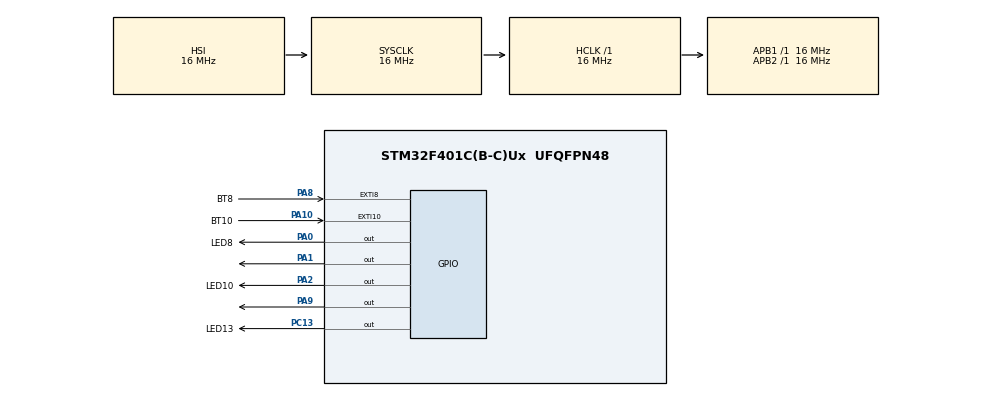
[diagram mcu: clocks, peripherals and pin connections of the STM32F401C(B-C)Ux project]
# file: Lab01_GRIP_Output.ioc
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Mcu.Family=STM32F4
Mcu.Name=STM32F401C(B-C)Ux
Mcu.Package=UFQFPN48
NVIC.EXTI15_10_IRQn=true\:5\:0\:true\:true\:true\:2\:true\:true\:true
NVIC.EXTI9_5_IRQn=true\:10\:0\:true\:true\:true\:1\:true\:true\:true
NVIC.PriorityGroup=NVIC_PRIORITYGROUP_4
PA0-WKUP.GPIO_Label=LED8
PA0-WKUP.Signal=GPIO_Output
PA1.Signal=GPIO_Output
PA10.GPIO_Label=BT10
PA10.Signal=GPXTI10
PA13.Mode=Serial_Wire
PA13.Signal=SYS_JTMS-SWDIO
PA14.Mode=Serial_Wire
PA14.Signal=SYS_JTCK-SWCLK
PA2.GPIO_Label=LED10
PA2.Signal=GPIO_Output
PA8.GPIO_Label=BT8
PA8.Signal=GPXTI8
PA9.Signal=GPIO_Output
PC13-ANTI_TAMP.GPIO_Label=LED13
PC13-ANTI_TAMP.Signal=GPIO_Output
ProjectManager.HeapSize=0x200
ProjectManager.StackSize=0x400
ProjectManager.TargetToolchain=STM32CubeIDE
RCC.AHBFreq_Value=16000000
RCC.APB1Freq_Value=16000000
RCC.APB2Freq_Value=16000000
RCC.CortexFreq_Value=16000000
RCC.HSE_VALUE=25000000
RCC.HSI_VALUE=16000000
RCC.LSE_VALUE=32768
RCC.SYSCLKFreq_VALUE=16000000
RCC.VCOOutputFreq_Value=192000000
board=custom

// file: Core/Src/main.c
/* USER CODE BEGIN Header */
/**
  ******************************************************************************
  * @file           : main.c
  * @brief          : Main program body
  ******************************************************************************
  * @attention
  *
  * Copyright (c) 2023 STMicroelectronics.
  * All rights reserved.
  *
  * This software is licensed under terms that can be found in the LICENSE file
  * in the root directory of this software component.
  * If no LICENSE file comes with this software, it is provided AS-IS.
  *
  ******************************************************************************
  */
/* USER CODE END Header */
#include "main.h"

void SystemClock_Config(void);
static void MX_GPIO_Init(void);
static void MX_NVIC_Init(void);
/* USER CODE BEGIN PFP */
void WaitForСallback(void);
/* USER CODE END PFP */

int main(void)
{

  /* MCU Configuration--------------------------------------------------------*/

  /* Reset of all peripherals, Initializes the Flash interface and the Systick. */
  HAL_Init();

  /* Configure the system clock */
  SystemClock_Config();

  /* Initialize all configured peripherals */
  MX_GPIO_Init();

  /* Initialize interrupts */
  MX_NVIC_Init();

  /* Infinite loop */
  /* USER CODE BEGIN WHILE */

  unsigned long player1_time = 0;
  unsigned long player2_time = 0;

  int position=0;

  while (1)
  {
    /* USER CODE END WHILE */
	  HAL_GPIO_TogglePin(LED13_GPIO_Port, LED13_Pin);
	  HAL_Delay(200);

	  if(HAL_GPIO_ReadPin(BT10_GPIO_Port, BT10_Pin) == GPIO_PIN_SET){
	 	position++;
	 	player1_time = position;
	 		HAL_GPIO_WritePin(LED10_GPIO_Port, LED10_Pin, GPIO_PIN_SET);
	 	 HAL_Delay(300);
	 	HAL_GPIO_WritePin(LED10_GPIO_Port, LED10_Pin, GPIO_PIN_RESET);
	 	} else{
	 		HAL_GPIO_WritePin(LED10_GPIO_Port, LED10_Pin, GPIO_PIN_RESET);
	 	}
	 	HAL_Delay(10);

	 	if(HAL_GPIO_ReadPin(BT8_GPIO_Port, BT8_Pin) == GPIO_PIN_SET){
	 	 position++;
	 	 player2_time=position;
	 	  	HAL_GPIO_WritePin(LED8_GPIO_Port, LED8_Pin, GPIO_PIN_SET);
	 	  		HAL_Delay(300);
	 	 HAL_GPIO_WritePin(LED8_GPIO_Port, LED8_Pin, GPIO_PIN_RESET);
	 	  		 } else{
	 	  		 HAL_GPIO_WritePin(LED8_GPIO_Port, LED8_Pin, GPIO_PIN_RESET);
	 	  		 }

	 	  HAL_Delay(10);

	 	 if(player1_time !=0 && player2_time != 0){
	 	 if (player1_time < player2_time){
	 	  HAL_GPIO_WritePin(LED10_GPIO_Port, LED10_Pin, GPIO_PIN_SET);
	 	  HAL_Delay(5000);
	 	  HAL_GPIO_WritePin(LED10_GPIO_Port, LED10_Pin, GPIO_PIN_RESET);
	 	 } else{
	 	  HAL_GPIO_WritePin(LED8_GPIO_Port, LED8_Pin, GPIO_PIN_SET);
	 	  HAL_Delay(5000);
	 	  HAL_GPIO_WritePin(LED8_GPIO_Port, LED8_Pin, GPIO_PIN_RESET);
	 	 }
	 	  player1_time=0;
	 	  player2_time=0;
	 	  position=0;
	 	 }
 /* USER COD*/
  }
  /* USER CODE END 3 */
}

void SystemClock_Config(void)
{
  RCC_OscInitTypeDef RCC_OscInitStruct = {0};
  RCC_ClkInitTypeDef RCC_ClkInitStruct = {0};

  /** Configure the main internal regulator output voltage
  */
  __HAL_RCC_PWR_CLK_ENABLE();
  __HAL_PWR_VOLTAGESCALING_CONFIG(PWR_REGULATOR_VOLTAGE_SCALE2);

  /** Initializes the RCC Oscillators according to the specified parameters
  * in the RCC_OscInitTypeDef structure.
  */
  RCC_OscInitStruct.OscillatorType = RCC_OSCILLATORTYPE_HSI;
  RCC_OscInitStruct.HSIState = RCC_HSI_ON;
  RCC_OscInitStruct.HSICalibrationValue = RCC_HSICALIBRATION_DEFAULT;
  RCC_OscInitStruct.PLL.PLLState = RCC_PLL_NONE;
  if (HAL_RCC_OscConfig(&RCC_OscInitStruct) != HAL_OK)
  {
    Error_Handler();
  }

  /** Initializes the CPU, AHB and APB buses clocks
  */
  RCC_ClkInitStruct.ClockType = RCC_CLOCKTYPE_HCLK|RCC_CLOCKTYPE_SYSCLK
                              |RCC_CLOCKTYPE_PCLK1|RCC_CLOCKTYPE_PCLK2;
  RCC_ClkInitStruct.SYSCLKSource = RCC_SYSCLKSOURCE_HSI;
  RCC_ClkInitStruct.AHBCLKDivider = RCC_SYSCLK_DIV1;
  RCC_ClkInitStruct.APB1CLKDivider = RCC_HCLK_DIV1;
  RCC_ClkInitStruct.APB2CLKDivider = RCC_HCLK_DIV1;

  if (HAL_RCC_ClockConfig(&RCC_ClkInitStruct, FLASH_LATENCY_0) != HAL_OK)
  {
    Error_Handler();
  }
}

/**
  * @brief NVIC Configuration.
  * @retval None
  */
static void MX_NVIC_Init(void)
{
  /* EXTI9_5_IRQn interrupt configuration */
  HAL_NVIC_SetPriority(EXTI9_5_IRQn, 10, 0);
  HAL_NVIC_EnableIRQ(EXTI9_5_IRQn);
  /* EXTI15_10_IRQn interrupt configuration */
  HAL_NVIC_SetPriority(EXTI15_10_IRQn, 5, 0);
  HAL_NVIC_EnableIRQ(EXTI15_10_IRQn);
}

static void MX_GPIO_Init(void)
{
  GPIO_InitTypeDef GPIO_InitStruct = {0};

  /* GPIO Ports Clock Enable */
  __HAL_RCC_GPIOC_CLK_ENABLE();
  __HAL_RCC_GPIOA_CLK_ENABLE();

  /*Configure GPIO pin Output Level */
  HAL_GPIO_WritePin(LED13_GPIO_Port, LED13_Pin, GPIO_PIN_RESET);

  /*Configure GPIO pin Output Level */
  HAL_GPIO_WritePin(GPIOA, LED8_Pin|GPIO_PIN_1|LED10_Pin|GPIO_PIN_9, GPIO_PIN_RESET);

  /*Configure GPIO pin : LED13_Pin */
  GPIO_InitStruct.Pin = LED13_Pin;
  GPIO_InitStruct.Mode = GPIO_MODE_OUTPUT_PP;
  GPIO_InitStruct.Pull = GPIO_NOPULL;
  GPIO_InitStruct.Speed = GPIO_SPEED_FREQ_LOW;
  HAL_GPIO_Init(LED13_GPIO_Port, &GPIO_InitStruct);

  /*Configure GPIO pins : LED8_Pin PA1 LED10_Pin PA9 */
  GPIO_InitStruct.Pin = LED8_Pin|GPIO_PIN_1|LED10_Pin|GPIO_PIN_9;
  GPIO_InitStruct.Mode = GPIO_MODE_OUTPUT_PP;
  GPIO_InitStruct.Pull = GPIO_NOPULL;
  GPIO_InitStruct.Speed = GPIO_SPEED_FREQ_LOW;
  HAL_GPIO_Init(GPIOA, &GPIO_InitStruct);

  /*Configure GPIO pins : BT8_Pin BT10_Pin */
  GPIO_InitStruct.Pin = BT8_Pin|BT10_Pin;
  GPIO_InitStruct.Mode = GPIO_MODE_IT_RISING;
  GPIO_InitStruct.Pull = GPIO_NOPULL;
  HAL_GPIO_Init(GPIOA, &GPIO_InitStruct);

}

/* USER CODE BEGIN 4 */
void HAL_GPIO_EXIT_Callback(uint16_t GPIO_Pin)
{
	if (GPIO_Pin == BT8_Pin){
		HAL_GPIO_WritePin(LED8_GPIO_Port, LED8_Pin, GPIO_PIN_SET);
		WaitForCallback();
		HAL_GPIO_WritePin(LED8_GPIO_Port, LED8_Pin, GPIO_PIN_RESET);
		return;
	}

	if (GPIO_Pin == BT10_Pin){
			HAL_GPIO_WritePin(LED10_GPIO_Port, LED10_Pin, GPIO_PIN_SET);
			WaitForСallback();
			HAL_GPIO_WritePin(LED10_GPIO_Port, LED10_Pin, GPIO_PIN_RESET);
			return;
		}
}

/* USER CODE END 4 */

void Error_Handler(void)
{
  __disable_irq();
  while (1)
  {
  }
}
